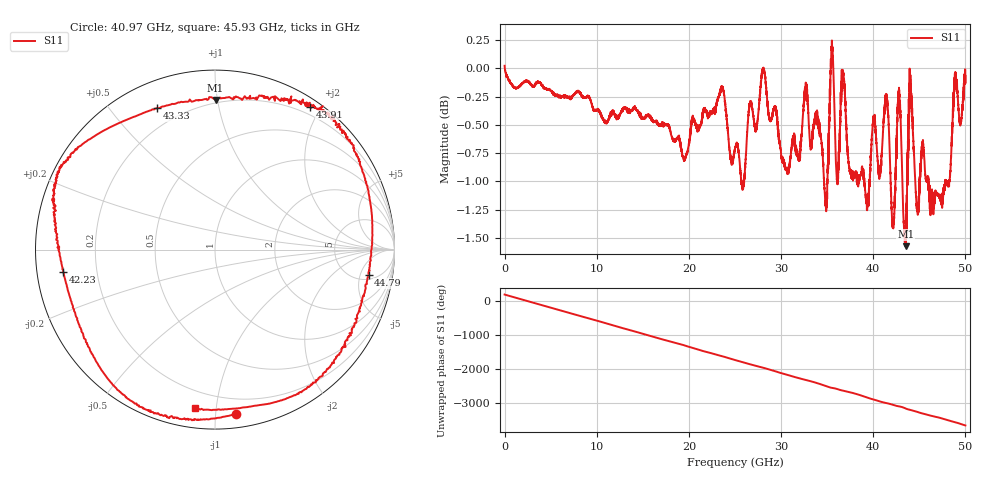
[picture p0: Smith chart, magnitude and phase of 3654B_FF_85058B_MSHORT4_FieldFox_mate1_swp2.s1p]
!Created with skrf (http://scikit-rf.org).
# Hz S RI R 50.0
!freq ReS11 ImS11
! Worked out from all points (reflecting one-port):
!   10000 points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, 5.3 MHz to 50 GHz, reference 50 ohm
!   lowest |S11| = -1.6 dB at 43.52 GHz (marker M1), VSWR 11.07, Z = 9 + j49.4 ohm
!   phase of S11 starts at 180 deg and turns -3825 deg over the sweep
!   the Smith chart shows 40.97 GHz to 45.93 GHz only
!   S11 on the Smith chart (normalised r, x): 40.97 GHz: 0.09, -1.13; 42.23 GHz: 0.08, -0.07; 43.33 GHz: 0.12, +0.66; 43.91 GHz: 0.10, +1.87; 44.79 GHz: 6.14, -6.93; 45.93 GHz: 0.10, -0.88
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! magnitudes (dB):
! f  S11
! 5.3 MHz  0.0
! 6.255 GHz  -0.2
! 12.51 GHz  -0.4
! 18.76 GHz  -0.6
! 23.57 GHz  -0.2
! 25.01 GHz  -0.7
! 25.89 GHz  -1.1
! 28.08 GHz  0.0
! 31.26 GHz  -0.7
! 32.69 GHz  -0.2
! 34.86 GHz  -1.2
! 35.54 GHz  0.2
! 36.08 GHz  -1.0
! 36.72 GHz  0.0
! 37.51 GHz  -0.9
! 40.97 GHz  -0.7
! 41.48 GHz  -0.3
! 42.23 GHz  -1.4
! 42.8 GHz  -0.2
! 43.33 GHz  -1.4
! 43.52 GHz  -1.6
! 43.76 GHz  -0.7
! 43.91 GHz  -0.4
! 44.79 GHz  -1.2
! 45.93 GHz  -1.0
! 48.13 GHz  -1.0
! 48.87 GHz  -0.1
! 50 GHz  -0.1
